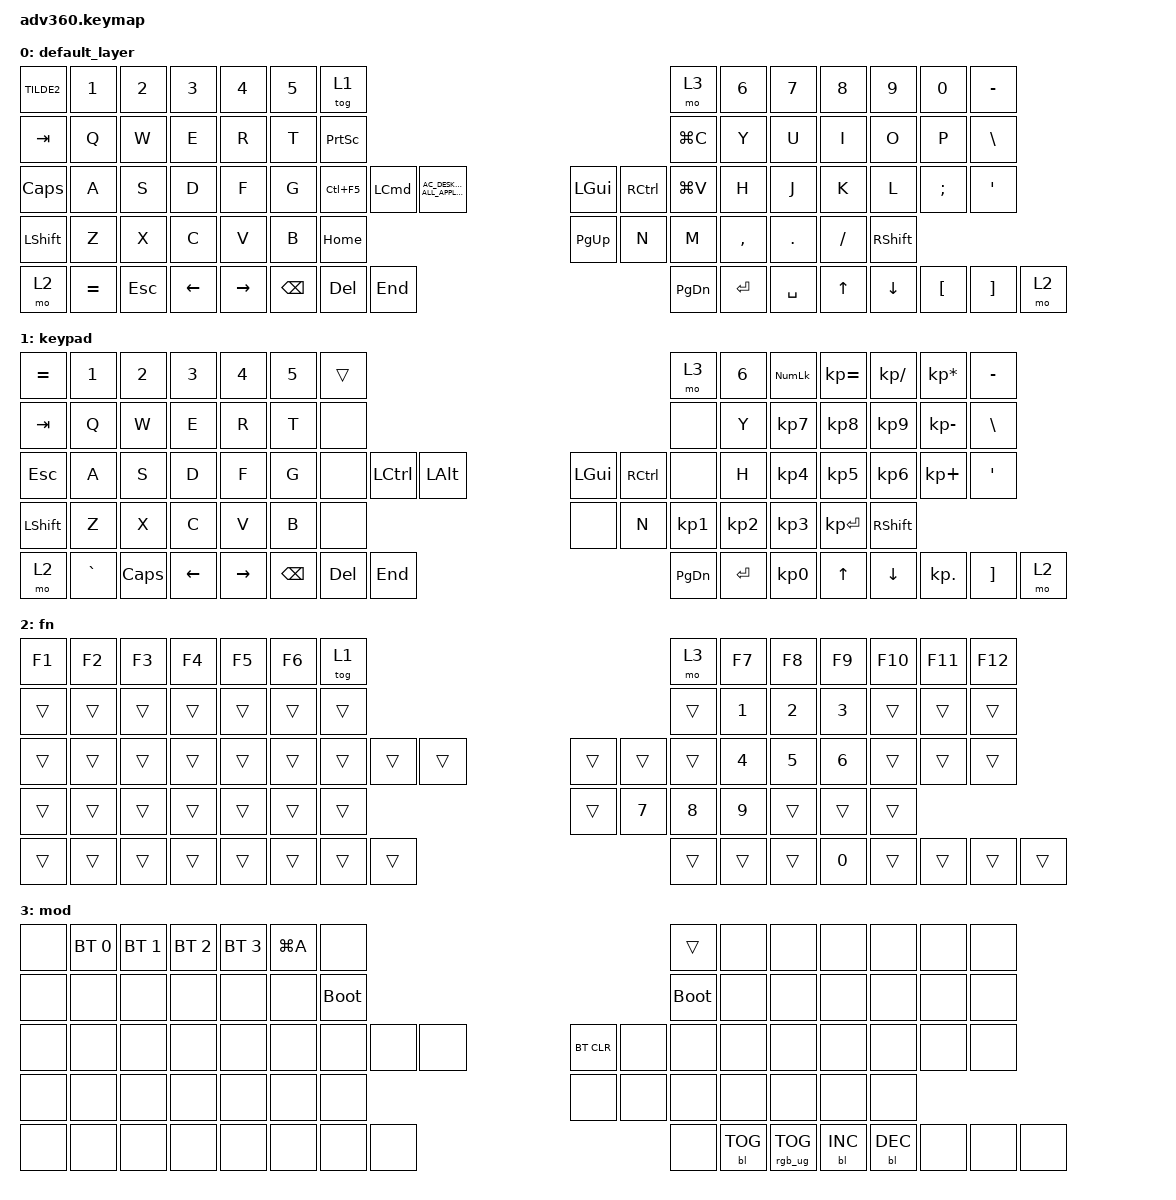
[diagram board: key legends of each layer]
#include <behaviors.dtsi>
#include <dt-bindings/zmk/backlight.h>
#include <dt-bindings/zmk/bt.h>
#include <dt-bindings/zmk/keys.h>
#include <dt-bindings/zmk/rgb.h>

/ {
    keymap {
        compatible = "zmk,keymap";

        default_layer { // Layer 0
            // Renamed from "default_layer" for clarity if you prefer, e.g., "base_layer"
            // display-name = "Base"; // You can add display names if your ZMK version supports it well
            bindings = <
// ROW 1 (Top row - numbers, etc.)
&kp TILDE2      &kp N1        &kp N2        &kp N3        &kp N4        &kp N5        &tog 1                                                                                              &mo 3         &kp N6        &kp N7        &kp N8        &kp N9        &kp N0        &kp MINUS
// ROW 2 (QWERTY row)
&kp TAB         &kp Q         &kp W         &kp E         &kp R         &kp T         &kp PRINTSCREEN                                                                                     &kp LG(C)     &kp Y         &kp U         &kp I         &kp O         &kp P         &kp BSLH
// ROW 3 (Home row - with extra keys as per your original layout)
&kp CAPSLOCK    &kp A         &kp S         &kp D         &kp F         &kp G         &kp LC(F5)        &kp LEFT_COMMAND  &kp C_AC_DESKTOP_SHOW_ALL_APPLICATIONS  &kp LGUI  &kp RCTRL     &kp LG(V)     &kp H         &kp J         &kp K         &kp L         &kp SEMI      &kp SQT
// ROW 4 (Bottom letter row - with extra keys)
&kp LSHFT       &kp Z         &kp X         &kp C         &kp V         &kp B         &kp HOME                                                              &kp PG_UP     &kp N         &kp M         &kp COMMA     &kp DOT       &kp FSLH      &kp RSHFT
// ROW 5 (Lowest row / Thumb clusters - with extra keys)
&mo 2           &kp EQUAL     &kp ESCAPE    &kp LEFT      &kp RIGHT                     &kp BSPC          &kp DEL                                       &kp END           &kp PG_DN     &kp ENTER     &kp SPACE                       &kp UP        &kp DOWN      &kp LBKT      &kp RBKT      &mo 2
            >;
        };

        keypad { // Layer 1 (Toggled by &tog 1 from default_layer)
            // display-name = "Keypad";
            bindings = <
// ROW 1
&kp EQUAL       &kp N1        &kp N2        &kp N3        &kp N4        &kp N5        &trans                                                                                              &mo 3         &kp N6        &kp KP_NUM    &kp KP_EQUAL  &kp KP_DIVIDE &kp KP_MULTIPLY &kp MINUS
// ROW 2
&kp TAB         &kp Q         &kp W         &kp E         &kp R         &kp T         &none                                                                                               &none         &kp Y         &kp KP_N7     &kp KP_N8     &kp KP_N9     &kp KP_MINUS    &kp BSLH
// ROW 3
&kp ESC         &kp A         &kp S         &kp D         &kp F         &kp G         &none             &kp LCTRL         &kp LALT                                &kp LGUI  &kp RCTRL     &none         &kp H         &kp KP_N4     &kp KP_N5     &kp KP_N6     &kp KP_PLUS     &kp SQT
// ROW 4
&kp LSHFT       &kp Z         &kp X         &kp C         &kp V         &kp B         &none                                                                 &none         &kp N         &kp KP_N1     &kp KP_N2     &kp KP_N3     &kp KP_ENTER    &kp RSHFT
// ROW 5
&mo 2           &kp GRAVE     &kp CAPS      &kp LEFT      &kp RIGHT                     &kp BSPC          &kp DEL                                       &kp END           &kp PG_DN     &kp ENTER     &kp KP_N0                       &kp UP        &kp DOWN      &kp KP_DOT    &kp RBKT      &mo 2
            >;
        };

        fn { // Layer 2 (Momentary, accessed by &mo 2 from default_layer)
            // display-name = "Function";
            bindings = <
// ROW 1: Function keys
&kp F1          &kp F2        &kp F3        &kp F4        &kp F5        &kp F6        &tog 1                                                                                              &mo 3         &kp F7        &kp F8        &kp F9        &kp F10       &kp F11       &kp F12
// ROW 2: Y,U,I become 1,2,3. Others transparent or none.
&trans          &trans        &trans        &trans        &trans        &trans        &trans /*PRTSCR*/                                                                                   &trans /*LGC*/&kp N1 /*Y*/  &kp N2 /*U*/  &kp N3 /*I*/  &trans /*O*/  &trans /*P*/  &trans /*BSLH*/
// ROW 3: H,J,K become 4,5,6. Others transparent or none. Thumb section transparent.
&trans          &trans        &trans        &trans        &trans        &trans        &trans /*LC(F5)*/ &trans /*LCMD*/   &trans /*ShowAll*/                       &trans/*LGUI*/&trans/*RCTRL*/&trans /*LGV*/&kp N4 /*H*/  &kp N5 /*J*/  &kp N6 /*K*/  &trans /*L*/  &trans /*SEMI*/&trans /*SQT*/
// ROW 4: N,M,COMMA become 7,8,9. Others transparent.
&trans          &trans        &trans        &trans        &trans        &trans        &trans /*HOME*/                                                          &trans /*PGUP*/&kp N7 /*N*/  &kp N8 /*M*/  &kp N9/*COMMA*/&trans /*DOT*/&trans/*FSLH*/&trans /*RSHFT*/
// ROW 5: UP becomes 0. Others transparent.
&trans          &trans        &trans        &trans        &trans                      &trans /*BSPC*/   &trans /*DEL*/                                      &trans /*END*/    &trans/*PGDN*/&trans/*ENTER*/&trans/*SPACE*/                  &kp N0 /*UP*/ &trans/*DOWN*/&trans/*LBKT*/&trans/*RBKT*/&trans
            >;
        };

        mod { // Layer 3 (Momentary, accessed by &mo 3 from default_layer)
            // display-name = "Mod Layer";
            bindings = <
// ROW 1: BT_SEL 4 becomes Cmd+A
&none           &bt BT_SEL 0  &bt BT_SEL 1  &bt BT_SEL 2  &bt BT_SEL 3  &kp LG(A)/*BT_SEL 4 to CMD+A*/&none                                                                            &trans        &none         &none         &none         &none         &none         &none
// ROW 2
&none           &none         &none         &none         &none         &none         &bootloader                                                                                         &bootloader   &none         &none         &none         &none         &none         &none
// ROW 3
&none           &none         &none         &none         &none         &none         &none             &none             &none                                   &bt BT_CLR &none        &none         &none         &none         &none         &none         &none         &none
// ROW 4
&none           &none         &none         &none         &none         &none         &none                                                                 &none         &none         &none         &none         &none         &none         &none
// ROW 5
&none           &none         &none         &none         &none                       &none             &none                                         &none           &none         &bl BL_TOG    &rgb_ug RGB_TOG                 &bl BL_INC    &bl BL_DEC    &none         &none         &none
            >;
        };
    };
};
